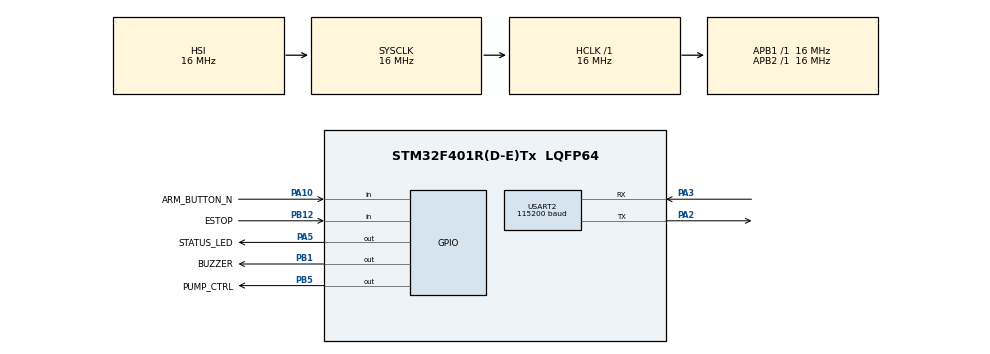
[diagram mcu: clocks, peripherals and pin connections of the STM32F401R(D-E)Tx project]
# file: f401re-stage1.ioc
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Mcu.Family=STM32F4
Mcu.Name=STM32F401R(D-E)Tx
Mcu.Package=LQFP64
NVIC.PriorityGroup=NVIC_PRIORITYGROUP_4
NVIC.USART2_IRQn=true\:5\:0\:true\:false\:true\:true\:true\:true\:true
PA10.GPIO_Label=ARM_BUTTON_N
PA10.GPIO_PuPd=GPIO_PULLUP
PA10.Signal=GPIO_Input
PA13.Mode=Serial_Wire
PA13.Signal=SYS_JTMS-SWDIO
PA14.Mode=Serial_Wire
PA14.Signal=SYS_JTCK-SWCLK
PA2.Mode=Asynchronous
PA2.Signal=USART2_TX
PA3.Mode=Asynchronous
PA3.Signal=USART2_RX
PA5.GPIO_Label=STATUS_LED
PA5.GPIO_Speed=GPIO_SPEED_FREQ_LOW
PA5.PinState=GPIO_PIN_RESET
PA5.Signal=GPIO_Output
PB1.GPIO_Label=BUZZER
PB1.GPIO_Speed=GPIO_SPEED_FREQ_LOW
PB1.PinState=GPIO_PIN_RESET
PB1.Signal=GPIO_Output
PB12.GPIO_Label=ESTOP
PB12.GPIO_PuPd=GPIO_NOPULL
PB12.Signal=GPIO_Input
PB5.GPIO_Label=PUMP_CTRL
PB5.GPIO_PuPd=GPIO_NOPULL
PB5.GPIO_Speed=GPIO_SPEED_FREQ_LOW
PB5.PinState=GPIO_PIN_RESET
PB5.Signal=GPIO_Output
ProjectManager.HeapSize=0x200
ProjectManager.StackSize=0x400
ProjectManager.TargetToolchain=STM32CubeIDE
RCC.AHBFreq_Value=16000000
RCC.APB1Freq_Value=16000000
RCC.APB1TimFreq_Value=16000000
RCC.APB2Freq_Value=16000000
RCC.APB2TimFreq_Value=16000000
RCC.CortexFreq_Value=16000000
RCC.HCLKFreq_Value=16000000
RCC.HSI_VALUE=16000000
RCC.SYSCLKFreq_VALUE=16000000
RCC.SYSCLKSource=RCC_SYSCLKSOURCE_HSI
USART2.BaudRate=115200
# USART2 Asynchronous mode on PA2/PA3, 115200 8N1
USART2.Mode=MODE_TX_RX
USART2.Parity=PARITY_NONE
USART2.StopBits=STOPBITS_1
USART2.VirtualMode=VM_ASYNC
USART2.WordLength=WORDLENGTH_8B
CortexSys.SysTick=1
board=NUCLEO-F401RE

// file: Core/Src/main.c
/* USER CODE BEGIN Header */
/* NUCLEO-F401RE stage-one spray controller firmware. */
/* USER CODE END Header */
#include "main.h"

/* USER CODE BEGIN Includes */
#include <string.h>

#include "line_receiver.h"
#include "mcv1_protocol.h"
#include "stm32f401re_hal.h"
/* USER CODE END Includes */

UART_HandleTypeDef huart2;

/* USER CODE BEGIN PV */
#define MAIN_RX_BUDGET 16u

static mcv1_controller_t mcv1_controller;
static fw_line_receiver_t line_receiver;
/* USER CODE END PV */

void SystemClock_Config(void);
static void MX_GPIO_Init(void);
static void MX_USART2_UART_Init(void);

/* USER CODE BEGIN PFP */
static void process_line(const char *line);
static void send_response(const char *response, size_t length);
static void flush_responses(void);
/* USER CODE END PFP */

/* USER CODE BEGIN 0 */
static void send_response(const char *response, size_t length) {
  stm32f401re_hal_send(response, length);
}

static void process_line(const char *line) {
  mcv1_process_line(&mcv1_controller, stm32f401re_hal_read_inputs(), line);
  flush_responses();
}

static void flush_responses(void) {
  char response[MCV1_RESPONSE_CAPACITY];

  while (mcv1_take_response(&mcv1_controller, response) > 0u) {
    const size_t length = strlen(response);

    send_response(response, length);
  }
}
/* USER CODE END 0 */

int main(void) {
  /* USER CODE BEGIN 1 */
  const fw_config_t config = FW_CONFIG_DEFAULT;
  /* USER CODE END 1 */

  HAL_Init();

  /* USER CODE BEGIN SysInit */
  __HAL_RCC_GPIOB_CLK_ENABLE();
  HAL_GPIO_WritePin(PUMP_CTRL_GPIO_Port, PUMP_CTRL_Pin | BUZZER_Pin, GPIO_PIN_RESET);
  /* USER CODE END SysInit */

  SystemClock_Config();

  MX_GPIO_Init();
  MX_USART2_UART_Init();

  /* USER CODE BEGIN 2 */
  mcv1_init(&mcv1_controller, &config);
  fw_line_receiver_init(&line_receiver);
  stm32f401re_hal_apply_outputs(
      fw_core_outputs(&mcv1_controller.core, HAL_GetTick()));
  stm32f401re_hal_start_uart_rx();
  /* USER CODE END 2 */

  /* Infinite loop */
  /* USER CODE BEGIN WHILE */
  while (1) {
    uint8_t byte;
    uint32_t uart_error;
    unsigned int processed = 0u;
    fw_inputs_t inputs = stm32f401re_hal_read_inputs();

    mcv1_step(&mcv1_controller, inputs);
    stm32f401re_hal_apply_outputs(
        fw_core_outputs(&mcv1_controller.core, inputs.now_ms));
    flush_responses();

    stm32f401re_hal_service_uart_rx();
    if (stm32f401re_hal_take_uart_error(&uart_error)) {
      (void)uart_error;
      mcv1_process_line(
          &mcv1_controller, stm32f401re_hal_read_inputs(), "MCV1|STOP");
      fw_line_receiver_init(&line_receiver);
      stm32f401re_hal_apply_outputs(
          fw_core_outputs(&mcv1_controller.core, HAL_GetTick()));
      flush_responses();
      send_response("MCV1|ERR|SYSTEM|UART_RX\r\n",
                    sizeof("MCV1|ERR|SYSTEM|UART_RX\r\n") - 1u);
    }

    if (stm32f401re_hal_take_rx_overflow()) {
      mcv1_process_line(
          &mcv1_controller, stm32f401re_hal_read_inputs(), "MCV1|STOP");
      fw_line_receiver_init(&line_receiver);
      flush_responses();
      send_response("MCV1|ERR|SYSTEM|RX_OVERFLOW\r\n",
                    sizeof("MCV1|ERR|SYSTEM|RX_OVERFLOW\r\n") - 1u);
    }

    while (processed < MAIN_RX_BUDGET &&
           stm32f401re_hal_rx_pop(&byte)) {
      char completed[FW_LINE_CAPACITY];
      const fw_line_result_t line_result = fw_line_receiver_push(
          &line_receiver, (char)byte, completed);

      if (line_result == FW_LINE_COMPLETE) {
        process_line(completed);
        break;
      } else if (line_result == FW_LINE_TOO_LONG) {
        mcv1_process_line(
            &mcv1_controller, stm32f401re_hal_read_inputs(), "MCV1|STOP");
        flush_responses();
        send_response("MCV1|ERR|SYSTEM|BAD_FORMAT\r\n",
                      sizeof("MCV1|ERR|SYSTEM|BAD_FORMAT\r\n") - 1u);
        break;
      }
      ++processed;
    }

    inputs = stm32f401re_hal_read_inputs();
    mcv1_step(&mcv1_controller, inputs);
    stm32f401re_hal_apply_outputs(
        fw_core_outputs(&mcv1_controller.core, inputs.now_ms));
    flush_responses();
    /* USER CODE END WHILE */

  }
}

void SystemClock_Config(void) {
  RCC_OscInitTypeDef RCC_OscInitStruct = {0};
  RCC_ClkInitTypeDef RCC_ClkInitStruct = {0};

  __HAL_RCC_PWR_CLK_ENABLE();
  __HAL_PWR_VOLTAGESCALING_CONFIG(PWR_REGULATOR_VOLTAGE_SCALE2);

  RCC_OscInitStruct.OscillatorType = RCC_OSCILLATORTYPE_HSI;
  RCC_OscInitStruct.HSIState = RCC_HSI_ON;
  RCC_OscInitStruct.HSICalibrationValue = RCC_HSICALIBRATION_DEFAULT;
  RCC_OscInitStruct.PLL.PLLState = RCC_PLL_NONE;
  if (HAL_RCC_OscConfig(&RCC_OscInitStruct) != HAL_OK) {
    Error_Handler();
  }

  RCC_ClkInitStruct.ClockType = RCC_CLOCKTYPE_HCLK | RCC_CLOCKTYPE_SYSCLK |
                                RCC_CLOCKTYPE_PCLK1 | RCC_CLOCKTYPE_PCLK2;
  RCC_ClkInitStruct.SYSCLKSource = RCC_SYSCLKSOURCE_HSI;
  RCC_ClkInitStruct.AHBCLKDivider = RCC_SYSCLK_DIV1;
  RCC_ClkInitStruct.APB1CLKDivider = RCC_HCLK_DIV1;
  RCC_ClkInitStruct.APB2CLKDivider = RCC_HCLK_DIV1;
  if (HAL_RCC_ClockConfig(&RCC_ClkInitStruct, FLASH_LATENCY_0) != HAL_OK) {
    Error_Handler();
  }

  if (HAL_SYSTICK_Config(HAL_RCC_GetHCLKFreq() / 1000u) != 0u) {
    Error_Handler();
  }
  HAL_SYSTICK_CLKSourceConfig(SYSTICK_CLKSOURCE_HCLK);
  HAL_NVIC_SetPriority(SysTick_IRQn, 15u, 0u);
}

static void MX_USART2_UART_Init(void) {
  huart2.Instance = USART2;
  huart2.Init.BaudRate = 115200;
  huart2.Init.WordLength = UART_WORDLENGTH_8B;
  huart2.Init.StopBits = UART_STOPBITS_1;
  huart2.Init.Parity = UART_PARITY_NONE;
  huart2.Init.Mode = UART_MODE_TX_RX;
  huart2.Init.HwFlowCtl = UART_HWCONTROL_NONE;
  huart2.Init.OverSampling = UART_OVERSAMPLING_16;
  if (HAL_UART_Init(&huart2) != HAL_OK) {
    Error_Handler();
  }
}

static void MX_GPIO_Init(void) {
  GPIO_InitTypeDef GPIO_InitStruct = {0};

  __HAL_RCC_GPIOA_CLK_ENABLE();
  __HAL_RCC_GPIOB_CLK_ENABLE();

  HAL_GPIO_WritePin(STATUS_LED_GPIO_Port, STATUS_LED_Pin, GPIO_PIN_RESET);
  HAL_GPIO_WritePin(PUMP_CTRL_GPIO_Port,
                    PUMP_CTRL_Pin | BUZZER_Pin,
                    GPIO_PIN_RESET);

  GPIO_InitStruct.Pin = STATUS_LED_Pin;
  GPIO_InitStruct.Mode = GPIO_MODE_OUTPUT_PP;
  GPIO_InitStruct.Pull = GPIO_NOPULL;
  GPIO_InitStruct.Speed = GPIO_SPEED_FREQ_LOW;
  HAL_GPIO_Init(STATUS_LED_GPIO_Port, &GPIO_InitStruct);

  GPIO_InitStruct.Pin = PUMP_CTRL_Pin | BUZZER_Pin;
  GPIO_InitStruct.Mode = GPIO_MODE_OUTPUT_PP;
  GPIO_InitStruct.Pull = GPIO_NOPULL;
  GPIO_InitStruct.Speed = GPIO_SPEED_FREQ_LOW;
  HAL_GPIO_Init(GPIOB, &GPIO_InitStruct);

  GPIO_InitStruct.Pin = ESTOP_Pin;
  GPIO_InitStruct.Mode = GPIO_MODE_INPUT;
  GPIO_InitStruct.Pull = GPIO_NOPULL;
  HAL_GPIO_Init(ESTOP_GPIO_Port, &GPIO_InitStruct);

  GPIO_InitStruct.Pin = ARM_BUTTON_N_Pin;
  GPIO_InitStruct.Mode = GPIO_MODE_INPUT;
  GPIO_InitStruct.Pull = GPIO_PULLUP;
  HAL_GPIO_Init(ARM_BUTTON_N_GPIO_Port, &GPIO_InitStruct);
}

void Error_Handler(void) {
  __HAL_RCC_GPIOB_CLK_ENABLE();
  HAL_GPIO_WritePin(PUMP_CTRL_GPIO_Port,
                    PUMP_CTRL_Pin | BUZZER_Pin,
                    GPIO_PIN_RESET);
  __disable_irq();
  while (1) {
  }
}
